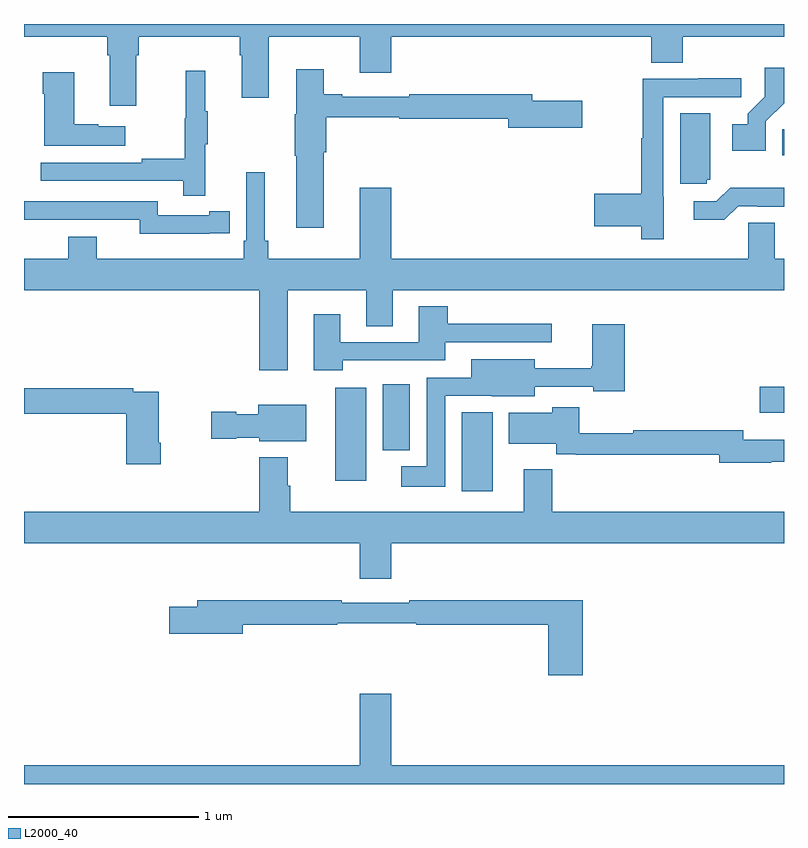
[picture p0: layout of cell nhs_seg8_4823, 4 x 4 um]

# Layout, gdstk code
import gdstk
lib = gdstk.Library(unit=1e-6, precision=1e-09)
def R(c, l, rs):  # rectangles x0, y0, x1, y1
    for r in rs: c.add(gdstk.rectangle(r[:2], r[2:], *l))
def P(c, l, *ps):  # polygons
    for p in ps: c.add(gdstk.Polygon(p, *l))
L2000_40 = (2000, 40)

nhs_seg8_4823 = lib.new_cell('nhs_seg8_4823')
R(nhs_seg8_4823, L2000_40, [(405.305,1115.442,405.466,1115.857), (404.639,1115.496,404.8,1115.986), (404.888,1115.657,405.031,1116.004), (406.872,1115.855,407,1115.99), (406.99,1117.208,407,1117.346)])
P(nhs_seg8_4823, L2000_40, [(403.591,1117.736),(403.604,1117.736),(403.604,1117.832),(404.135,1117.832),(404.135,1117.736),(404.147,1117.736),(404.147,1117.512),(404.287,1117.512),(404.287,1117.832),(404.768,1117.832),(404.768,1117.644),(404.932,1117.644),(404.932,1117.832),(406.301,1117.832),(406.301,1117.696),(406.466,1117.696),(406.466,1117.832),(407,1117.832),(407,1117.9),(403,1117.9),(403,1117.832),(403.439,1117.832),(403.439,1117.736),(403.451,1117.736),(403.451,1117.47),(403.591,1117.47)],
  [(406.905,1117.387),(407,1117.482),(407,1117.669),(406.899,1117.669),(406.899,1117.517),(406.808,1117.427),(406.808,1117.372),(406.728,1117.372),(406.728,1117.232),(406.905,1117.232)],
  [(404.578,1117.225),(404.591,1117.225),(404.591,1117.41),(404.974,1117.41),(404.974,1117.402),(405.548,1117.402),(405.548,1117.355),(405.937,1117.355),(405.937,1117.497),(405.676,1117.497),(405.676,1117.531),(405.028,1117.531),(405.028,1117.518),(404.674,1117.518),(404.674,1117.531),(404.578,1117.531),(404.578,1117.663),(404.432,1117.663),(404.432,1117.425),(404.425,1117.425),(404.425,1117.207),(404.432,1117.207),(404.432,1116.828),(404.578,1116.828)],
  [(403.955,1117.267),(403.966,1117.267),(403.966,1117.441),(403.955,1117.441),(403.955,1117.654),(403.852,1117.654),(403.852,1117.404),(403.845,1117.404),(403.845,1117.19),(403.621,1117.19),(403.621,1117.17),(403.089,1117.17),(403.089,1117.074),(403.837,1117.074),(403.837,1116.996),(403.955,1116.996)],
  [(403.534,1117.363),(403.391,1117.363),(403.391,1117.373),(403.264,1117.373),(403.264,1117.645),(403.099,1117.645),(403.099,1117.532),(403.106,1117.532),(403.106,1117.259),(403.534,1117.259)],
  [(406.366,1116.99),(406.365,1116.99),(406.365,1117.515),(406.774,1117.515),(406.774,1117.614),(406.549,1117.614),(406.549,1117.611),(406.257,1117.611),(406.257,1117.299),(406.249,1117.299),(406.249,1117.007),(406.002,1117.007),(406.002,1116.836),(406.249,1116.836),(406.249,1116.768),(406.366,1116.768)],
  [(406.593,1117.08),(406.612,1117.08),(406.612,1117.429),(406.454,1117.429),(406.454,1117.059),(406.593,1117.059)],
  [(404.389,1116.5),(404.801,1116.5),(404.801,1116.31),(404.941,1116.31),(404.941,1116.5),(407,1116.5),(407,1116.664),(406.951,1116.664),(406.951,1116.854),(406.812,1116.854),(406.812,1116.664),(404.932,1116.664),(404.932,1117.039),(404.768,1117.039),(404.768,1116.664),(404.285,1116.664),(404.285,1116.76),(404.266,1116.76),(404.266,1117.12),(404.169,1117.12),(404.169,1116.76),(404.156,1116.76),(404.156,1116.664),(403.384,1116.664),(403.384,1116.781),(403.232,1116.781),(403.232,1116.664),(403,1116.664),(403,1116.5),(404.237,1116.5),(404.237,1116.078),(404.389,1116.078)],
  [(406.758,1116.942),(406.858,1116.942),(406.858,1116.939),(407,1116.939),(407,1117.039),(406.717,1117.039),(406.644,1116.966),(406.524,1116.966),(406.524,1116.869),(406.685,1116.869)],
  [(403.976,1116.798),(404.084,1116.798),(404.084,1116.914),(403.976,1116.914),(403.976,1116.894),(403.704,1116.894),(403.704,1116.966),(403,1116.966),(403,1116.869),(403.148,1116.869),(403.148,1116.87),(403.608,1116.87),(403.608,1116.797),(403.976,1116.797)],
  [(404.678,1116.129),(405.217,1116.129),(405.217,1116.225),(405.778,1116.225),(405.778,1116.322),(405.23,1116.322),(405.23,1116.415),(405.077,1116.415),(405.077,1116.225),(404.665,1116.225),(404.665,1116.373),(404.525,1116.373),(404.525,1116.078),(404.678,1116.078)],
  [(405.216,1115.943),(405.462,1115.943),(405.462,1115.942),(405.688,1115.942),(405.688,1115.991),(405.996,1115.991),(405.996,1115.966),(406.163,1115.966),(406.163,1116.319),(405.992,1116.319),(405.992,1116.1),(405.985,1116.1),(405.985,1116.088),(405.688,1116.088),(405.688,1116.136),(405.353,1116.136),(405.353,1116.039),(405.12,1116.039),(405.12,1115.572),(404.985,1115.572),(404.985,1115.465),(405.216,1115.465)],
  [(403.721,1115.695),(403.708,1115.695),(403.708,1115.964),(403.574,1115.964),(403.574,1115.984),(403,1115.984),(403,1115.848),(403.538,1115.848),(403.538,1115.583),(403.721,1115.583)],
  [(404.485,1115.896),(404.234,1115.896),(404.234,1115.845),(404.118,1115.845),(404.118,1115.858),(403.986,1115.858),(403.986,1115.716),(404.118,1115.716),(404.118,1115.723),(404.238,1115.723),(404.238,1115.705),(404.485,1115.705)],
  [(406.934,1115.595),(407,1115.595),(407,1115.713),(406.786,1115.713),(406.786,1115.762),(406.206,1115.762),(406.206,1115.745),(405.923,1115.745),(405.923,1115.884),(405.781,1115.884),(405.781,1115.854),(405.551,1115.854),(405.551,1115.69),(405.801,1115.69),(405.801,1115.635),(405.904,1115.635),(405.904,1115.634),(406.658,1115.634),(406.658,1115.591),(406.934,1115.591)],
  [(404.932,1115.168),(407,1115.168),(407,1115.332),(405.781,1115.332),(405.781,1115.557),(405.629,1115.557),(405.629,1115.332),(404.402,1115.332),(404.402,1115.471),(404.389,1115.471),(404.389,1115.62),(404.237,1115.62),(404.237,1115.332),(403,1115.332),(403,1115.168),(404.768,1115.168),(404.768,1114.98),(404.932,1114.98)],
  [(405.941,1114.867),(405.028,1114.867),(405.028,1114.854),(404.672,1114.854),(404.672,1114.867),(403.913,1114.867),(403.913,1114.833),(403.764,1114.833),(403.764,1114.691),(404.152,1114.691),(404.152,1114.738),(404.648,1114.738),(404.648,1114.746),(405.065,1114.746),(405.065,1114.738),(405.758,1114.738),(405.758,1114.473),(405.941,1114.473)],
  [(407,1114),(404.932,1114),(404.932,1114.375),(404.768,1114.375),(404.768,1114),(403,1114),(403,1113.9),(407,1113.9)])

lib.write_gds('nhs_seg8_4823.gds')
